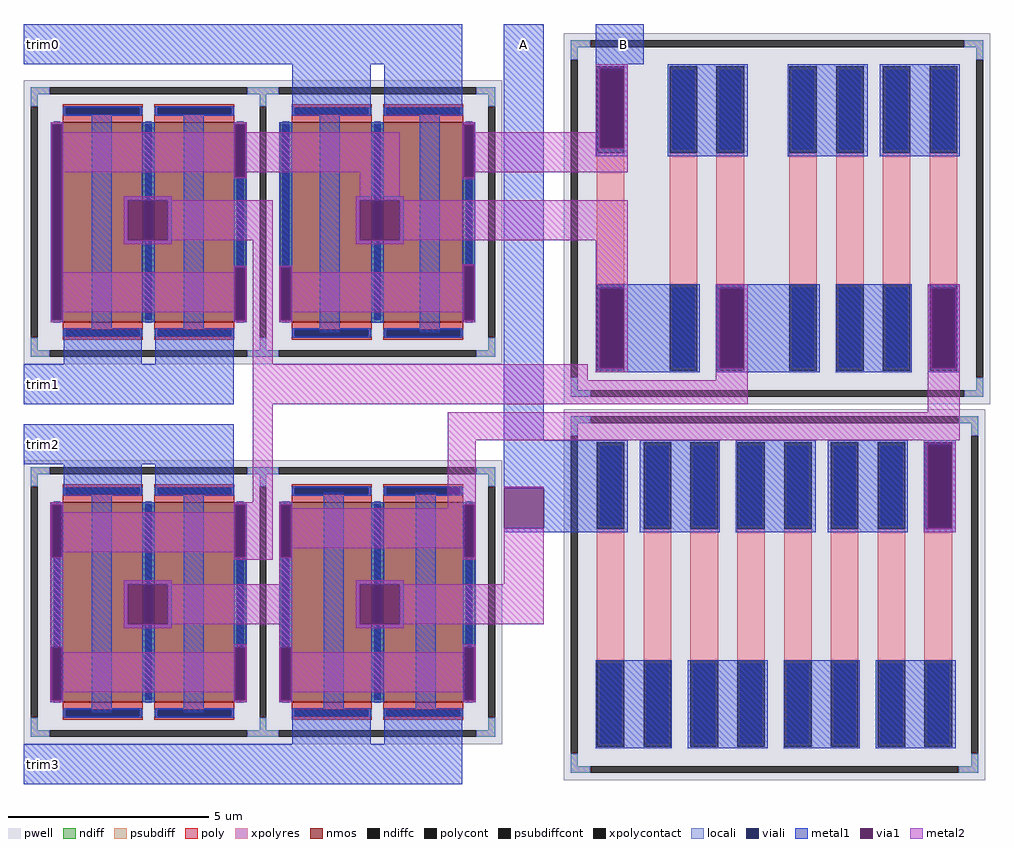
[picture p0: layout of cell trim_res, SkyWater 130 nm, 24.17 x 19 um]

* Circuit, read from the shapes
.subckt trim_res A trim0 trim2 trim3 trim1 B
XM1 sky130_fd_pr__res_xhigh_po_0p69_N3PYDF_0/R2_3 trim2 sky130_fd_pr__res_xhigh_po_0p69_N3PYDF_0/R2_0 VSUBS sky130_fd_pr__nfet_01v8 w=5 l=2 m=2
XM2 sky130_fd_pr__res_xhigh_po_0p69_N3PYDF_0/R2_0 trim1 sky130_fd_pr__res_xhigh_po_0p69_N3P86F_0/R2 VSUBS sky130_fd_pr__nfet_01v8 w=5 l=2 m=2
XM3 A trim3 sky130_fd_pr__res_xhigh_po_0p69_N3PYDF_0/R2_3 VSUBS sky130_fd_pr__nfet_01v8 w=5 l=2 m=2
XM4 sky130_fd_pr__res_xhigh_po_0p69_N3P86F_0/R2 trim0 B VSUBS sky130_fd_pr__nfet_01v8 w=5 l=2 m=2
XR5 A n1 VSUBS sky130_fd_pr__res_xhigh_po w=0.69 l=3.29
XR6 B sky130_fd_pr__res_xhigh_po_0p69_N3P86F_0/R2 VSUBS sky130_fd_pr__res_xhigh_po w=0.69 l=3.29
XR7 n2 n1 VSUBS sky130_fd_pr__res_xhigh_po w=0.69 l=3.29
XR8 sky130_fd_pr__res_xhigh_po_0p69_RJP6R5_0/R1_0 sky130_fd_pr__res_xhigh_po_0p69_N3P86F_0/R2 VSUBS sky130_fd_pr__res_xhigh_po w=0.69 l=3.29
XR9 n2 n3 VSUBS sky130_fd_pr__res_xhigh_po w=0.69 l=3.29
XR10 sky130_fd_pr__res_xhigh_po_0p69_RJP6R5_0/R1_0 sky130_fd_pr__res_xhigh_po_0p69_N3PYDF_0/R2_0 VSUBS sky130_fd_pr__res_xhigh_po w=0.69 l=3.29
XR11 n4 n3 VSUBS sky130_fd_pr__res_xhigh_po w=0.69 l=3.29
XR12 n4 n5 VSUBS sky130_fd_pr__res_xhigh_po w=0.69 l=3.29
XR13 sky130_fd_pr__res_xhigh_po_0p69_N3PYDF_0/R1_0 sky130_fd_pr__res_xhigh_po_0p69_N3PYDF_0/R2_0 VSUBS sky130_fd_pr__res_xhigh_po w=0.69 l=3.29
XR14 n6 n5 VSUBS sky130_fd_pr__res_xhigh_po w=0.69 l=3.29
XR15 sky130_fd_pr__res_xhigh_po_0p69_N3PYDF_0/R1_0 sky130_fd_pr__res_xhigh_po_0p69_N3PYDF_0/R2_1 VSUBS sky130_fd_pr__res_xhigh_po w=0.69 l=3.29
XR16 n6 n7 VSUBS sky130_fd_pr__res_xhigh_po w=0.69 l=3.29
XR17 sky130_fd_pr__res_xhigh_po_0p69_N3PYDF_0/R1_2 sky130_fd_pr__res_xhigh_po_0p69_N3PYDF_0/R2_1 VSUBS sky130_fd_pr__res_xhigh_po w=0.69 l=3.29
XR18 sky130_fd_pr__res_xhigh_po_0p69_N3PYDF_0/R2_3 n7 VSUBS sky130_fd_pr__res_xhigh_po w=0.69 l=3.29
XR19 sky130_fd_pr__res_xhigh_po_0p69_N3PYDF_0/R1_2 sky130_fd_pr__res_xhigh_po_0p69_N3PYDF_0/R2_3 VSUBS sky130_fd_pr__res_xhigh_po w=0.69 l=3.29
.ends

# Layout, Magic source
magic
tech sky130A
magscale 1 2
<< pwell >>
rect 3400 -2000 5534 -146
<< psubdiff >>
rect 3436 -216 3532 -182
rect 5402 -216 5498 -182
rect 3436 -278 3470 -216
rect 3436 -1930 3470 -1868
rect 5464 -278 5498 -216
rect 5464 -1930 5498 -1868
rect 3436 -1964 3532 -1930
rect 5402 -1964 5498 -1930
<< psubdiffcont >>
rect 3532 -216 5402 -182
rect 3436 -1868 3470 -278
rect 5464 -1868 5498 -278
rect 3532 -1964 5402 -1930
<< locali >>
rect 3436 -216 3532 -182
rect 5402 -216 5498 -182
rect 3436 -278 3470 -216
rect 3436 -1930 3470 -1868
rect 5464 -278 5498 -216
rect 5464 -1930 5498 -1868
rect 3436 -1964 3532 -1930
rect 5402 -1964 5498 -1930
<< metal1 >>
rect 700 -300 2894 -100
rect 2044 -558 2436 -300
rect 2502 -558 2894 -300
rect 835 -602 899 -590
rect 835 -1578 841 -602
rect 893 -1578 899 -602
rect 835 -1590 899 -1578
rect 1040 -1622 1140 -558
rect 1292 -960 1356 -590
rect 1200 -980 1440 -960
rect 1200 -1180 1220 -980
rect 1420 -1180 1440 -980
rect 1200 -1200 1440 -1180
rect 1292 -1590 1356 -1200
rect 1500 -1622 1600 -558
rect 1751 -602 1815 -590
rect 1751 -866 1757 -602
rect 1809 -866 1815 -602
rect 1751 -1316 1815 -866
rect 1751 -1580 1757 -1316
rect 1809 -1580 1815 -1316
rect 1751 -1590 1815 -1580
rect 1979 -1316 2043 -590
rect 1979 -1580 1985 -1316
rect 2037 -1580 2043 -1316
rect 1979 -1590 2043 -1580
rect 900 -1800 1292 -1622
rect 1358 -1800 1750 -1622
rect 2180 -1640 2280 -558
rect 2437 -960 2501 -590
rect 2360 -980 2600 -960
rect 2360 -1180 2380 -980
rect 2580 -1180 2600 -980
rect 2360 -1200 2600 -1180
rect 2437 -1594 2501 -1200
rect 2680 -1640 2780 -558
rect 2894 -604 2958 -590
rect 2894 -866 2900 -604
rect 2952 -866 2958 -604
rect 2894 -1308 2958 -866
rect 2894 -1580 2900 -1308
rect 2952 -1580 2958 -1308
rect 2894 -1590 2958 -1580
rect 700 -2000 1750 -1800
rect 700 -2300 1750 -2100
rect 900 -2458 1292 -2300
rect 1358 -2458 1750 -2300
rect 3100 -2180 3300 -100
rect 3560 -300 3800 -100
rect 3560 -320 3720 -300
rect 3560 -720 3580 -320
rect 3700 -720 3720 -320
rect 3560 -760 3720 -720
rect 3920 -760 4320 -300
rect 4520 -760 4920 -300
rect 4980 -760 5380 -300
rect 3560 -1420 4080 -1400
rect 3560 -1820 3580 -1420
rect 3700 -1820 4080 -1420
rect 3560 -1840 4080 -1820
rect 4160 -1420 4680 -1400
rect 4160 -1820 4180 -1420
rect 4300 -1820 4680 -1420
rect 4160 -1840 4680 -1820
rect 4760 -1840 5140 -1400
rect 5220 -1420 5380 -1400
rect 5220 -1820 5240 -1420
rect 5360 -1820 5380 -1420
rect 5220 -1840 5380 -1820
rect 3100 -2420 3720 -2180
rect 834 -2504 898 -2490
rect 834 -2766 840 -2504
rect 892 -2766 898 -2504
rect 834 -3216 898 -2766
rect 834 -3480 840 -3216
rect 892 -3480 898 -3216
rect 834 -3490 898 -3480
rect 1040 -3540 1140 -2458
rect 1293 -2880 1357 -2490
rect 1200 -2900 1440 -2880
rect 1200 -3100 1220 -2900
rect 1420 -3100 1440 -2900
rect 1200 -3120 1440 -3100
rect 1293 -3490 1357 -3120
rect 1500 -3540 1600 -2458
rect 1751 -2504 1815 -2490
rect 1751 -2766 1757 -2504
rect 1809 -2766 1815 -2504
rect 1751 -3216 1815 -2766
rect 1751 -3480 1757 -3216
rect 1809 -3480 1815 -3216
rect 1751 -3490 1815 -3480
rect 1979 -2504 2043 -2488
rect 1979 -2766 1985 -2504
rect 2037 -2766 2043 -2504
rect 1979 -3216 2043 -2766
rect 1979 -3480 1985 -3216
rect 2037 -3480 2043 -3216
rect 1979 -3490 2043 -3480
rect 2200 -3522 2300 -2440
rect 2438 -2880 2502 -2490
rect 2360 -2900 2600 -2880
rect 2360 -3100 2380 -2900
rect 2580 -3100 2600 -2900
rect 2360 -3120 2600 -3100
rect 2438 -3490 2502 -3120
rect 2660 -3522 2760 -2440
rect 2896 -2504 2960 -2490
rect 2896 -2766 2902 -2504
rect 2954 -2766 2960 -2504
rect 3300 -2620 3720 -2420
rect 3100 -2640 3720 -2620
rect 3780 -2640 4180 -2180
rect 4260 -2640 4660 -2180
rect 4720 -2640 5120 -2180
rect 5200 -2200 5360 -2180
rect 5200 -2620 5220 -2200
rect 5340 -2620 5360 -2200
rect 5200 -2640 5360 -2620
rect 2896 -3216 2960 -2766
rect 2896 -3480 2902 -3216
rect 2954 -3480 2960 -3216
rect 2896 -3490 2960 -3480
rect 2044 -3700 2436 -3522
rect 2502 -3700 2894 -3522
rect 700 -3900 2894 -3700
rect 3560 -3720 3940 -3280
rect 4020 -3720 4420 -3280
rect 4500 -3720 4880 -3280
rect 4960 -3720 5360 -3280
<< via1 >>
rect 841 -1578 893 -602
rect 1220 -1180 1420 -980
rect 1757 -866 1809 -602
rect 1757 -1580 1809 -1316
rect 1985 -1580 2037 -1316
rect 2380 -1180 2580 -980
rect 2900 -866 2952 -604
rect 2900 -1580 2952 -1308
rect 3580 -720 3700 -320
rect 3580 -1820 3700 -1420
rect 4180 -1820 4300 -1420
rect 5240 -1820 5360 -1420
rect 840 -2766 892 -2504
rect 840 -3480 892 -3216
rect 1220 -3100 1420 -2900
rect 1757 -2766 1809 -2504
rect 1757 -3480 1809 -3216
rect 1985 -2766 2037 -2504
rect 1985 -3480 2037 -3216
rect 2380 -3100 2580 -2900
rect 2902 -2766 2954 -2504
rect 3100 -2620 3300 -2420
rect 5220 -2620 5340 -2200
rect 2902 -3480 2954 -3216
<< metal2 >>
rect 3560 -320 3720 -300
rect 835 -602 899 -590
rect 835 -1578 841 -602
rect 893 -640 899 -602
rect 1751 -602 1815 -590
rect 1751 -640 1757 -602
rect 893 -840 1757 -640
rect 893 -1340 899 -840
rect 1751 -866 1757 -840
rect 1809 -640 1815 -602
rect 2894 -604 2958 -590
rect 1809 -840 2580 -640
rect 1809 -866 1815 -840
rect 1751 -872 1815 -866
rect 2380 -960 2580 -840
rect 2894 -866 2900 -604
rect 2952 -640 2958 -604
rect 3560 -640 3580 -320
rect 2952 -720 3580 -640
rect 3700 -720 3720 -320
rect 2952 -840 3720 -720
rect 2952 -866 2958 -840
rect 2894 -877 2958 -866
rect 1200 -980 1440 -960
rect 2360 -980 2600 -960
rect 1200 -1180 1220 -980
rect 1420 -1180 1945 -980
rect 1200 -1200 1440 -1180
rect 1751 -1316 1815 -1308
rect 1751 -1340 1757 -1316
rect 893 -1540 1757 -1340
rect 893 -1578 899 -1540
rect 835 -1590 899 -1578
rect 1751 -1580 1757 -1540
rect 1809 -1580 1815 -1316
rect 1751 -1590 1815 -1580
rect 1845 -1800 1945 -1180
rect 2360 -1180 2380 -980
rect 2580 -1180 3720 -980
rect 2360 -1200 2600 -1180
rect 2894 -1308 2958 -1300
rect 1979 -1316 2043 -1308
rect 1979 -1580 1985 -1316
rect 2037 -1340 2043 -1316
rect 2894 -1340 2900 -1308
rect 2037 -1540 2900 -1340
rect 2037 -1580 2043 -1540
rect 1979 -1590 2043 -1580
rect 2894 -1580 2900 -1540
rect 2952 -1580 2958 -1308
rect 2894 -1590 2958 -1580
rect 3560 -1420 3720 -1180
rect 1845 -1880 3520 -1800
rect 3560 -1820 3580 -1420
rect 3700 -1820 3720 -1420
rect 3560 -1840 3720 -1820
rect 4160 -1420 4320 -1400
rect 4160 -1820 4180 -1420
rect 4300 -1820 4320 -1420
rect 4160 -1880 4320 -1820
rect 1845 -2000 4320 -1880
rect 5220 -1420 5380 -1400
rect 5220 -1820 5240 -1420
rect 5360 -1820 5380 -1420
rect 1845 -2490 1945 -2000
rect 5220 -2040 5380 -1820
rect 2820 -2180 5380 -2040
rect 834 -2504 898 -2490
rect 834 -2766 840 -2504
rect 892 -2540 898 -2504
rect 1751 -2504 1945 -2490
rect 1751 -2540 1757 -2504
rect 892 -2740 1757 -2540
rect 892 -2766 898 -2740
rect 834 -3216 898 -2766
rect 1751 -2766 1757 -2740
rect 1809 -2766 1945 -2504
rect 1751 -2778 1945 -2766
rect 1979 -2504 2043 -2488
rect 1979 -2766 1985 -2504
rect 2037 -2520 2043 -2504
rect 2820 -2504 2960 -2180
rect 5200 -2200 5360 -2180
rect 2820 -2520 2902 -2504
rect 2037 -2720 2902 -2520
rect 2037 -2766 2043 -2720
rect 1200 -2900 1440 -2880
rect 1979 -2900 2043 -2766
rect 2896 -2766 2902 -2720
rect 2954 -2766 2960 -2504
rect 2896 -2778 2960 -2766
rect 3100 -2420 3300 -2414
rect 1200 -3100 1220 -2900
rect 1420 -3100 2043 -2900
rect 1200 -3120 1440 -3100
rect 834 -3480 840 -3216
rect 892 -3240 898 -3216
rect 1751 -3216 1815 -3202
rect 1751 -3240 1757 -3216
rect 892 -3440 1757 -3240
rect 892 -3480 898 -3440
rect 834 -3490 898 -3480
rect 1751 -3480 1757 -3440
rect 1809 -3480 1815 -3216
rect 1751 -3490 1815 -3480
rect 1979 -3216 2043 -3100
rect 2360 -2900 2600 -2880
rect 3100 -2900 3300 -2620
rect 5200 -2620 5220 -2200
rect 5340 -2620 5360 -2200
rect 5200 -2640 5360 -2620
rect 2360 -3100 2380 -2900
rect 2580 -3100 3300 -2900
rect 2360 -3120 2600 -3100
rect 1979 -3480 1985 -3216
rect 2037 -3240 2043 -3216
rect 2896 -3216 2960 -3202
rect 2896 -3240 2902 -3216
rect 2037 -3440 2902 -3240
rect 2037 -3480 2043 -3440
rect 1979 -3490 2043 -3480
rect 2896 -3480 2902 -3440
rect 2954 -3480 2960 -3216
rect 2896 -3490 2960 -3480
use sky130_fd_pr__res_xhigh_po_0p69_D5BT6X  sky130_fd_pr__res_xhigh_po_0p69_D5BT6X_0 paramcells
transform 1 0 4454 0 1 -2953
box -1054 -927 1054 927
use sky130_fd_pr__res_xhigh_po_0p69_N3P86F  sky130_fd_pr__res_xhigh_po_0p69_N3P86F_0 paramcells
transform 1 0 3635 0 1 -1073
box -69 -761 69 761
use sky130_fd_pr__res_xhigh_po_0p69_N3PYDF  sky130_fd_pr__res_xhigh_po_0p69_N3PYDF_0 paramcells
transform 1 0 4948 0 1 -1073
box -420 -761 420 761
use sky130_fd_pr__res_xhigh_po_0p69_RJP6R5  sky130_fd_pr__res_xhigh_po_0p69_RJP6R5_0 paramcells
transform 1 0 4116 0 1 -1073
box -186 -761 186 761
use sky130_fd_pr__nfet_01v8_J222PV  XM1 paramcells
transform 1 0 2469 0 1 -1090
box -625 -710 625 710
use sky130_fd_pr__nfet_01v8_J222PV  XM2
transform 1 0 1325 0 1 -1090
box -625 -710 625 710
use sky130_fd_pr__nfet_01v8_J222PV  XM3
transform 1 0 1325 0 1 -2990
box -625 -710 625 710
use sky130_fd_pr__nfet_01v8_J222PV  XM4
transform 1 0 2469 0 1 -2990
box -625 -710 625 710
<< labels >>
flabel metal1 700 -2000 900 -1800 0 FreeSans 256 0 0 0 trim1
port 5 nsew
flabel metal1 700 -2300 900 -2100 0 FreeSans 256 0 0 0 trim2
port 3 nsew
flabel metal1 700 -3900 900 -3700 0 FreeSans 256 0 0 0 trim3
port 4 nsew
flabel metal1 3100 -300 3300 -100 0 FreeSans 256 0 0 0 A
port 1 nsew
flabel metal1 700 -300 900 -100 0 FreeSans 256 0 0 0 trim0
port 2 nsew
flabel metal1 3600 -300 3800 -100 0 FreeSans 256 0 0 0 B
port 6 nsew
<< end >>

# cell sky130_fd_pr__res_xhigh_po_0p69_D5BT6X: kit device sky130_fd_pr__res_xhigh_po_0p69, w 0.690 l 3.45 m 1 nx 8 wmin 0.690 lmin 0.50 rho 2000 val 10.545k dummy 0 dw 0.0 term 188.2 sterm 0.0 caplen 0 wmax 0.690 guard 1 glc 1 grc 1 gtc 1 gbc 1 compatible {sky130_fd_pr__res_xhigh_po_0p35 sky130_fd_pr__res_xhigh_po_0p69 sky130_fd_pr__res_xhigh_po_1p41 sky130_fd_pr__res_xhigh_po_2p85 sky130_fd_pr__res_xhigh_po_5p73} snake 0 full_metal 1 n_guard 0 hv_guard 0 vias 1 viagb 0 viagt 0 viagl 0 viagr 0

# cell sky130_fd_pr__res_xhigh_po_0p69_N3P86F: kit device sky130_fd_pr__res_xhigh_po_0p69, w 0.690 l 3.45 m 1 nx 1 wmin 0.690 lmin 0.50 class resistor rho 2000 val 10.545k dummy 0 dw 0.0 term 188.2 sterm 0.0 caplen 0 wmax 0.690 guard 0 glc 1 grc 1 gtc 1 gbc 1 compatible {sky130_fd_pr__res_xhigh_po_0p35 sky130_fd_pr__res_xhigh_po_0p69 sky130_fd_pr__res_xhigh_po_1p41 sky130_fd_pr__res_xhigh_po_2p85 sky130_fd_pr__res_xhigh_po_5p73} snake 0 full_metal 1 n_guard 0 hv_guard 0 vias 1 viagb 0 viagt 0 viagl 0 viagr 0 doports 1

# cell sky130_fd_pr__res_xhigh_po_0p69_N3PYDF: kit device sky130_fd_pr__res_xhigh_po_0p69, w 0.690 l 3.45 m 1 nx 4 wmin 0.690 lmin 0.50 class resistor rho 2000 val 10.545k dummy 0 dw 0.0 term 188.2 sterm 0.0 caplen 0 wmax 0.690 guard 0 glc 1 grc 1 gtc 1 gbc 1 compatible {sky130_fd_pr__res_xhigh_po_0p35 sky130_fd_pr__res_xhigh_po_0p69 sky130_fd_pr__res_xhigh_po_1p41 sky130_fd_pr__res_xhigh_po_2p85 sky130_fd_pr__res_xhigh_po_5p73} snake 0 full_metal 1 n_guard 0 hv_guard 0 vias 1 viagb 0 viagt 0 viagl 0 viagr 0 doports 1

# cell sky130_fd_pr__res_xhigh_po_0p69_RJP6R5: kit device sky130_fd_pr__res_xhigh_po_0p69, w 0.69 l 3.45 m 1 nx 2 wmin 0.690 lmin 0.50 class resistor rho 2000 val 10.545k dummy 0 dw 0.0 term 188.2 sterm 0.0 caplen 0 wmax 0.690 guard 0 glc 1 grc 1 gtc 1 gbc 1 compatible {sky130_fd_pr__res_xhigh_po_0p35 sky130_fd_pr__res_xhigh_po_0p69 sky130_fd_pr__res_xhigh_po_1p41 sky130_fd_pr__res_xhigh_po_2p85 sky130_fd_pr__res_xhigh_po_5p73} snake 0 full_metal 1 n_guard 0 hv_guard 0 vias 1 viagb 0 viagt 0 viagl 0 viagr 0 doports 1

# cell sky130_fd_pr__nfet_01v8_J222PV: kit device sky130_fd_pr__nfet_01v8, w 5 l 2.0 m 1 nf 2 diffcov 100 polycov 100 guard 1 glc 1 grc 1 gtc 1 gbc 1 tbcov 100 rlcov 100 topc 1 botc 1 poverlap 0 doverlap 1 lmin 0.15 wmin 0.42 compatible {sky130_fd_pr__nfet_01v8 sky130_fd_pr__nfet_01v8_lvt sky130_fd_bs_flash__special_sonosfet_star sky130_fd_pr__nfet_g5v0d10v5 sky130_fd_pr__nfet_05v0_nvt sky130_fd_pr__nfet_03v3_nvt} full_metal 1 viasrc 100 viadrn 100 viagate 100 viagb 0 viagr 0 viagl 0 viagt 0
